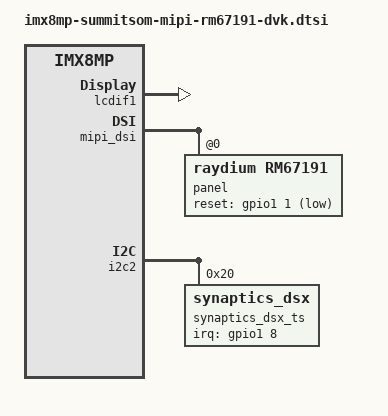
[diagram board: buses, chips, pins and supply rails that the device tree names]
// SPDX-License-Identifier: (GPL-2.0+ OR MIT)
/*
 * Copyright 2021 Laird Connectivity
 */

/* For MX8_DSI_OLED1 display */

&lcdif1 {
	status = "okay";
};

&mipi_dsi {
	status = "okay";

	panel@0 {
		compatible = "raydium,rm67191";
		reg = <0>;
		pinctrl-0 = <&pinctrl_mipi_dsi_en>;
		reset-gpio = <&gpio1 1 GPIO_ACTIVE_LOW>;
		dsi-lanes = <4>;
		video-mode = <2>;	/* 0: burst mode
					 * 1: non-burst mode with sync event
					 * 2: non-burst mode with sync pulse
					 */
		panel-width-mm = <68>;
		panel-height-mm = <121>;
		status = "okay";
	};
};

&i2c2 {
	synaptics_dsx_ts@20 {
		compatible = "synaptics_dsx";
		reg = <0x20>;
		pinctrl-names = "default";
		pinctrl-0 = <&pinctrl_i2c2_synaptics_dsx_io>;
		interrupt-parent = <&gpio1>;
		interrupts = <8 IRQ_TYPE_LEVEL_LOW>;
		synaptics,diagonal-rotation;
		status = "okay";
	};
};

&iomuxc {
	pinctrl_mipi_dsi_en: mipi_dsi_en {
		fsl,pins = <
			MX8MP_IOMUXC_GPIO1_IO01__GPIO1_IO01		0x16
		>;
	};

	pinctrl_i2c2_synaptics_dsx_io: synaptics_dsx_iogrp {
		fsl,pins = <
			MX8MP_IOMUXC_GPIO1_IO08__GPIO1_IO08		0x16
		>;
	};
};
